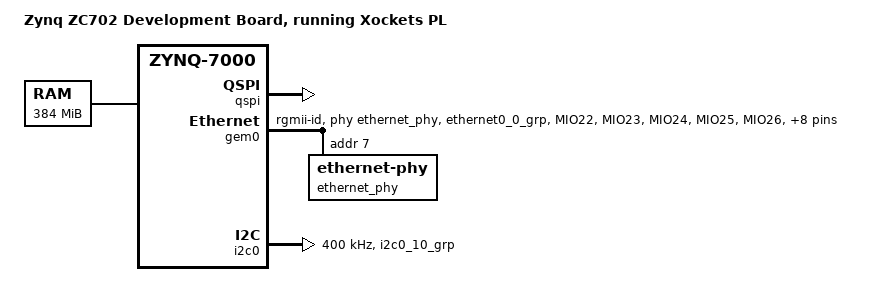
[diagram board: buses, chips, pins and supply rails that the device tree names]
/*
 *  Copyright (C) 2011 - 2014 Xilinx
 *  Copyright (C) 2012 National Instruments Corp.
 *
 * This software is licensed under the terms of the GNU General Public
 * License version 2, as published by the Free Software Foundation, and
 * may be copied, distributed, and modified under those terms.
 *
 * This program is distributed in the hope that it will be useful,
 * but WITHOUT ANY WARRANTY; without even the implied warranty of
 * MERCHANTABILITY or FITNESS FOR A PARTICULAR PURPOSE.  See the
 * GNU General Public License for more details.
 */
/dts-v1/;
/include/ "zynq-7000.dtsi"

/ {
	model = "Zynq ZC702 Development Board, running Xockets PL";
	compatible = "xlnx,zynq-zc702", "xockets,zynq-ximm", "xlnx,zynq-7000";

	aliases {
		ethernet0 = &gem0;
		i2c0 = &i2c0;
		spi0 = &qspi;
	};

	memory {
		device_type = "memory";
		reg = <0x0 0x18000000>;
	};

	chosen {
		bootargs = "console=hvc0,115200 root=/dev/ram rw earlyprintk";
	};
};

&qspi {
	status = "okay";
	is-dual = <0>;
	num-cs = <0>;
};

&clkc {
	ps-clk-frequency = <33333333>;
};

&gem0 {
	status = "okay";
	phy-mode = "rgmii-id";
	phy-handle = <&ethernet_phy>;
	pinctrl-names = "default";
	pinctrl-0 = <&pinctrl_gem0_default>;

	ethernet_phy: ethernet-phy@7 {
		reg = <7>;
	};
};

&i2c0 {
	status = "okay";
	clock-frequency = <400000>;
	pinctrl-names = "default";
	pinctrl-0 = <&pinctrl_i2c0_default>;
};

&pinctrl0 {
	pinctrl_gem0_default: gem0-default {
		mux {
			function = "ethernet0";
			groups = "ethernet0_0_grp";
		};

		conf {
			groups = "ethernet0_0_grp";
			slew-rate = <0>;
			io-standard = <4>;
		};

		conf-rx {
			pins = "MIO22", "MIO23", "MIO24", "MIO25", "MIO26", "MIO27";
			bias-high-impedance;
			low-power-disable;
		};

		conf-tx {
			pins = "MIO16", "MIO17", "MIO18", "MIO19", "MIO20", "MIO21";
			bias-disable;
			low-power-enable;
		};

		mux-mdio {
			function = "mdio0";
			groups = "mdio0_0_grp";
		};

		conf-mdio {
			groups = "mdio0_0_grp";
			slew-rate = <0>;
			io-standard = <1>;
			bias-disable;
		};
	};

	pinctrl_i2c0_default: i2c0-default {
		mux {
			groups = "i2c0_10_grp";
			function = "i2c0";
		};

		conf {
			groups = "i2c0_10_grp";
			bias-pull-up;
			slew-rate = <0>;
			io-standard = <1>;
		};
	};
};
